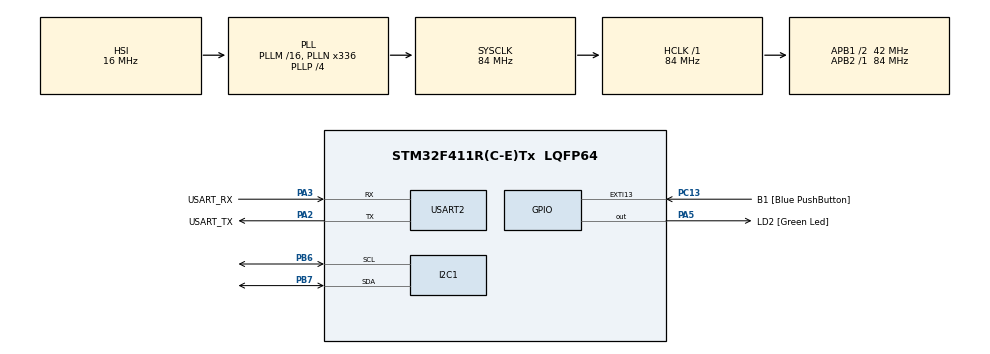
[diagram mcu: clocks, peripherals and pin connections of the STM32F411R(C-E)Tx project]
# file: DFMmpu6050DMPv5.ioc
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I2C1.I2C_Mode=I2C_Fast
Mcu.Family=STM32F4
Mcu.Name=STM32F411R(C-E)Tx
Mcu.Package=LQFP64
NVIC.PriorityGroup=NVIC_PRIORITYGROUP_0
PA13.GPIO_Label=TMS
PA13.Mode=Serial_Wire
PA13.Signal=SYS_JTMS-SWDIO
PA14.GPIO_Label=TCK
PA14.Mode=Serial_Wire
PA14.Signal=SYS_JTCK-SWCLK
PA2.GPIO_Label=USART_TX
PA2.Mode=Asynchronous
PA2.Signal=USART2_TX
PA3.GPIO_Label=USART_RX
PA3.Mode=Asynchronous
PA3.Signal=USART2_RX
PA5.GPIO_Label=LD2 [Green Led]
PA5.Signal=GPIO_Output
PB3.GPIO_Label=SWO
PB3.Signal=SYS_JTDO-SWO
PB6.Mode=I2C
PB6.Signal=I2C1_SCL
PB7.Mode=I2C
PB7.Signal=I2C1_SDA
PC13-ANTI_TAMP.GPIO_Label=B1 [Blue PushButton]
PC13-ANTI_TAMP.GPIO_ModeDefaultEXTI=GPIO_MODE_IT_FALLING
PC13-ANTI_TAMP.Signal=GPXTI13
PC14-OSC32_IN.Mode=LSE-External-Oscillator
PC14-OSC32_IN.Signal=RCC_OSC32_IN
PC15-OSC32_OUT.Mode=LSE-External-Oscillator
PC15-OSC32_OUT.Signal=RCC_OSC32_OUT
PH0\ -\ OSC_IN.Mode=HSE-External-Clock-Source
PH0\ -\ OSC_IN.Signal=RCC_OSC_IN
PH1\ -\ OSC_OUT.Mode=HSE-External-Clock-Source
PH1\ -\ OSC_OUT.Signal=RCC_OSC_OUT
ProjectManager.HeapSize=0x2000
ProjectManager.StackSize=0x4000
ProjectManager.TargetToolchain=STM32CubeIDE
RCC.48MHZClocksFreq_Value=84000000
RCC.AHBFreq_Value=84000000
RCC.APB1CLKDivider=RCC_HCLK_DIV2
RCC.APB1Freq_Value=42000000
RCC.APB1TimFreq_Value=84000000
RCC.APB2Freq_Value=84000000
RCC.APB2TimFreq_Value=84000000
RCC.CortexFreq_Value=84000000
RCC.FLatency-AdvancedSettings=FLASH_LATENCY_2
RCC.HCLKFreq_Value=84000000
RCC.HSE_VALUE=8000000
RCC.HSI_VALUE=16000000
RCC.PLLN=336
RCC.PLLP=RCC_PLLP_DIV4
RCC.SYSCLKFreq_VALUE=84000000
RCC.SYSCLKSource=RCC_SYSCLKSOURCE_PLLCLK
RCC.VCOOutputFreq_Value=336000000
USART2.VirtualMode=VM_ASYNC
board=NUCLEO-F411RE

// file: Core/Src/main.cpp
/* USER CODE BEGIN Header */
/**
  ******************************************************************************
  * @file           : main.c
  * @brief          : Main program body
  ******************************************************************************
  * @attention
  *
  * <h2><center>&copy; Copyright (c) 2021 STMicroelectronics.
  * All rights reserved.</center></h2>
  *
  * This software component is licensed by ST under BSD 3-Clause license,
  * the "License"; You may not use this file except in compliance with the
  * License. You may obtain a copy of the License at:
  *                        opensource.org/licenses/BSD-3-Clause
  *
  ******************************************************************************
  */
/* USER CODE END Header */
#include "main.h"
#include "i2c.h"
#include "usart.h"
#include "gpio.h"

/* USER CODE BEGIN Includes */
#include "MPU6050.h"
#include "stdlib.h"
#include "stdio.h"
/* USER CODE END Includes */

/* USER CODE BEGIN PV */
extern MPU6050_t mpu6050;
/* USER CODE END PV */

void SystemClock_Config(void);

int main(void)
{

  /* MCU Configuration--------------------------------------------------------*/

  /* Reset of all peripherals, Initializes the Flash interface and the Systick. */
  HAL_Init();

  /* Configure the system clock */
  SystemClock_Config();

  /* Initialize all configured peripherals */
  MX_GPIO_Init();
  MX_USART2_UART_Init();
  MX_I2C1_Init();
  /* USER CODE BEGIN 2 */
  mpu6050.devAddr = MPU6050_DEFAULT_ADDRESS;
  MPU6050_initialize();
  int32_t retvar = 0;
  int32_t retvar2 = 0;
  int32_t retvar3 = 0;
  int32_t retvar4 = 0;
  int32_t retvar5 = 0;
  MPU6050_setXGyroOffset(0);
  MPU6050_setYGyroOffset(0);
  MPU6050_setZGyroOffset(0);
  MPU6050_setXAccelOffset(0);
  MPU6050_setYAccelOffset(0);
  MPU6050_setZAccelOffset(0);
  /* USER CODE END 2 */

  /* Infinite loop */
  /* USER CODE BEGIN WHILE */
  while (1)
  {
	  HAL_Delay(50);
	  retvar = (int32_t) MPU6050_getRotationX();
	  retvar2 = (int32_t) MPU6050_getRotationY();
	  retvar3 = (int32_t)MPU6050_getAccelerationX();
	  retvar4 = (int32_t)MPU6050_getAccelerationY();
      retvar5 = (int32_t)MPU6050_getAccelerationZ();

      printf("Gyro X : ");
	  printf("%ld\r\n", retvar);
	  printf("Gyro Y : ");
	  printf("%ld\r\n", retvar2);
      printf("Accel X : ");
	  printf("%.2f\r\n", retvar3/(float)16384);
	  printf("Accel Y : ");
	  printf("%.2f\r\n", retvar4/(float)16384);
	  printf("Accel Z : ");
	  printf("%.2f\r\n", retvar5/(float)16384);

	  HAL_Delay(50);
    /* USER CODE END WHILE */

  }
}

void SystemClock_Config(void)
{
  RCC_OscInitTypeDef RCC_OscInitStruct = {0};
  RCC_ClkInitTypeDef RCC_ClkInitStruct = {0};

  /** Configure the main internal regulator output voltage
  */
  __HAL_RCC_PWR_CLK_ENABLE();
  __HAL_PWR_VOLTAGESCALING_CONFIG(PWR_REGULATOR_VOLTAGE_SCALE1);
  /** Initializes the RCC Oscillators according to the specified parameters
  * in the RCC_OscInitTypeDef structure.
  */
  RCC_OscInitStruct.OscillatorType = RCC_OSCILLATORTYPE_HSI;
  RCC_OscInitStruct.HSIState = RCC_HSI_ON;
  RCC_OscInitStruct.HSICalibrationValue = RCC_HSICALIBRATION_DEFAULT;
  RCC_OscInitStruct.PLL.PLLState = RCC_PLL_ON;
  RCC_OscInitStruct.PLL.PLLSource = RCC_PLLSOURCE_HSI;
  RCC_OscInitStruct.PLL.PLLM = 16;
  RCC_OscInitStruct.PLL.PLLN = 336;
  RCC_OscInitStruct.PLL.PLLP = RCC_PLLP_DIV4;
  RCC_OscInitStruct.PLL.PLLQ = 4;
  if (HAL_RCC_OscConfig(&RCC_OscInitStruct) != HAL_OK)
  {
    Error_Handler();
  }
  /** Initializes the CPU, AHB and APB buses clocks
  */
  RCC_ClkInitStruct.ClockType = RCC_CLOCKTYPE_HCLK|RCC_CLOCKTYPE_SYSCLK
                              |RCC_CLOCKTYPE_PCLK1|RCC_CLOCKTYPE_PCLK2;
  RCC_ClkInitStruct.SYSCLKSource = RCC_SYSCLKSOURCE_PLLCLK;
  RCC_ClkInitStruct.AHBCLKDivider = RCC_SYSCLK_DIV1;
  RCC_ClkInitStruct.APB1CLKDivider = RCC_HCLK_DIV2;
  RCC_ClkInitStruct.APB2CLKDivider = RCC_HCLK_DIV1;

  if (HAL_RCC_ClockConfig(&RCC_ClkInitStruct, FLASH_LATENCY_2) != HAL_OK)
  {
    Error_Handler();
  }
}

void Error_Handler(void)
{
  __disable_irq();
  while (1)
  {
  }
}

/************************ (C) COPYRIGHT STMicroelectronics *****END OF FILE****/
